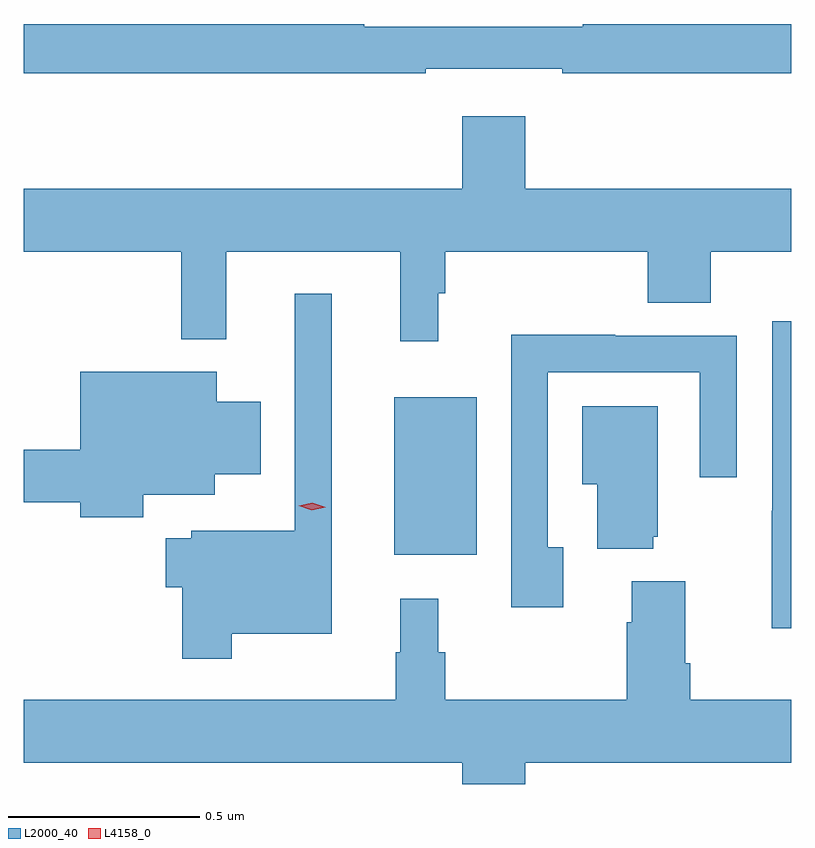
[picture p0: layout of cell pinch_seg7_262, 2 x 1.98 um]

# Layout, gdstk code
import gdstk
lib = gdstk.Library(unit=1e-6, precision=1e-09)
def R(c, l, rs):  # rectangles x0, y0, x1, y1
    for r in rs: c.add(gdstk.rectangle(r[:2], r[2:], *l))
def P(c, l, *ps):  # polygons
    for p in ps: c.add(gdstk.Polygon(p, *l))
L2000_40 = (2000, 40)
L4158_0 = (4158, 0)

pinch_seg7_262 = lib.new_cell('pinch_seg7_262')
R(pinch_seg7_262, L2000_40, [(824.171,1055.771,824.386,1056.181)])
P(pinch_seg7_262, L2000_40, [(824.252,1057.038),(824.608,1057.038),(824.608,1057.026),(825.205,1057.026),(825.205,1057.154),(824.662,1057.154),(824.662,1057.147),(824.092,1057.147),(824.092,1057.154),(823.205,1057.154),(823.205,1057.026),(824.252,1057.026)],
  [(824.285,1056.452),(824.303,1056.452),(824.303,1056.56),(824.831,1056.56),(824.831,1056.427),(824.996,1056.427),(824.996,1056.56),(825.205,1056.56),(825.205,1056.724),(824.512,1056.724),(824.512,1056.913),(824.348,1056.913),(824.348,1056.724),(823.205,1056.724),(823.205,1056.56),(823.615,1056.56),(823.615,1056.332),(823.733,1056.332),(823.733,1056.56),(824.186,1056.56),(824.186,1056.327),(824.285,1056.327)],
  [(823.747,1055.564),(824.008,1055.564),(824.008,1056.451),(823.911,1056.451),(823.911,1055.833),(823.641,1055.833),(823.641,1055.813),(823.575,1055.813),(823.575,1055.686),(823.618,1055.686),(823.618,1055.499),(823.747,1055.499)],
  [(825.205,1056.379),(825.156,1056.379),(825.156,1055.885),(825.154,1055.885),(825.154,1055.579),(825.205,1055.579)],
  [(824.611,1055.79),(824.571,1055.79),(824.571,1056.246),(824.967,1056.246),(824.967,1055.973),(825.063,1055.973),(825.063,1056.342),(824.747,1056.342),(824.747,1056.344),(824.475,1056.344),(824.475,1055.634),(824.611,1055.634)],
  [(823.516,1055.927),(823.702,1055.927),(823.702,1055.981),(823.822,1055.981),(823.822,1056.169),(823.708,1056.169),(823.708,1056.247),(823.352,1056.247),(823.352,1056.044),(823.205,1056.044),(823.205,1055.908),(823.352,1055.908),(823.352,1055.868),(823.516,1055.868)],
  [(824.846,1055.817),(824.857,1055.817),(824.857,1056.157),(824.66,1056.157),(824.66,1055.954),(824.699,1055.954),(824.699,1055.786),(824.846,1055.786)],
  [(824.512,1055.228),(825.205,1055.228),(825.205,1055.392),(824.942,1055.392),(824.942,1055.488),(824.929,1055.488),(824.929,1055.701),(824.789,1055.701),(824.789,1055.594),(824.777,1055.594),(824.777,1055.392),(824.303,1055.392),(824.303,1055.516),(824.285,1055.516),(824.285,1055.656),(824.186,1055.656),(824.186,1055.516),(824.175,1055.516),(824.175,1055.392),(823.205,1055.392),(823.205,1055.228),(824.348,1055.228),(824.348,1055.173),(824.512,1055.173)])
P(pinch_seg7_262, L4158_0, [(823.956,1055.886),(823.922,1055.898),(823.922,1055.898),(823.922,1055.898),(823.957,1055.906),(823.992,1055.894),(823.992,1055.894),(823.992,1055.894)])

lib.write_gds('pinch_seg7_262.gds')
